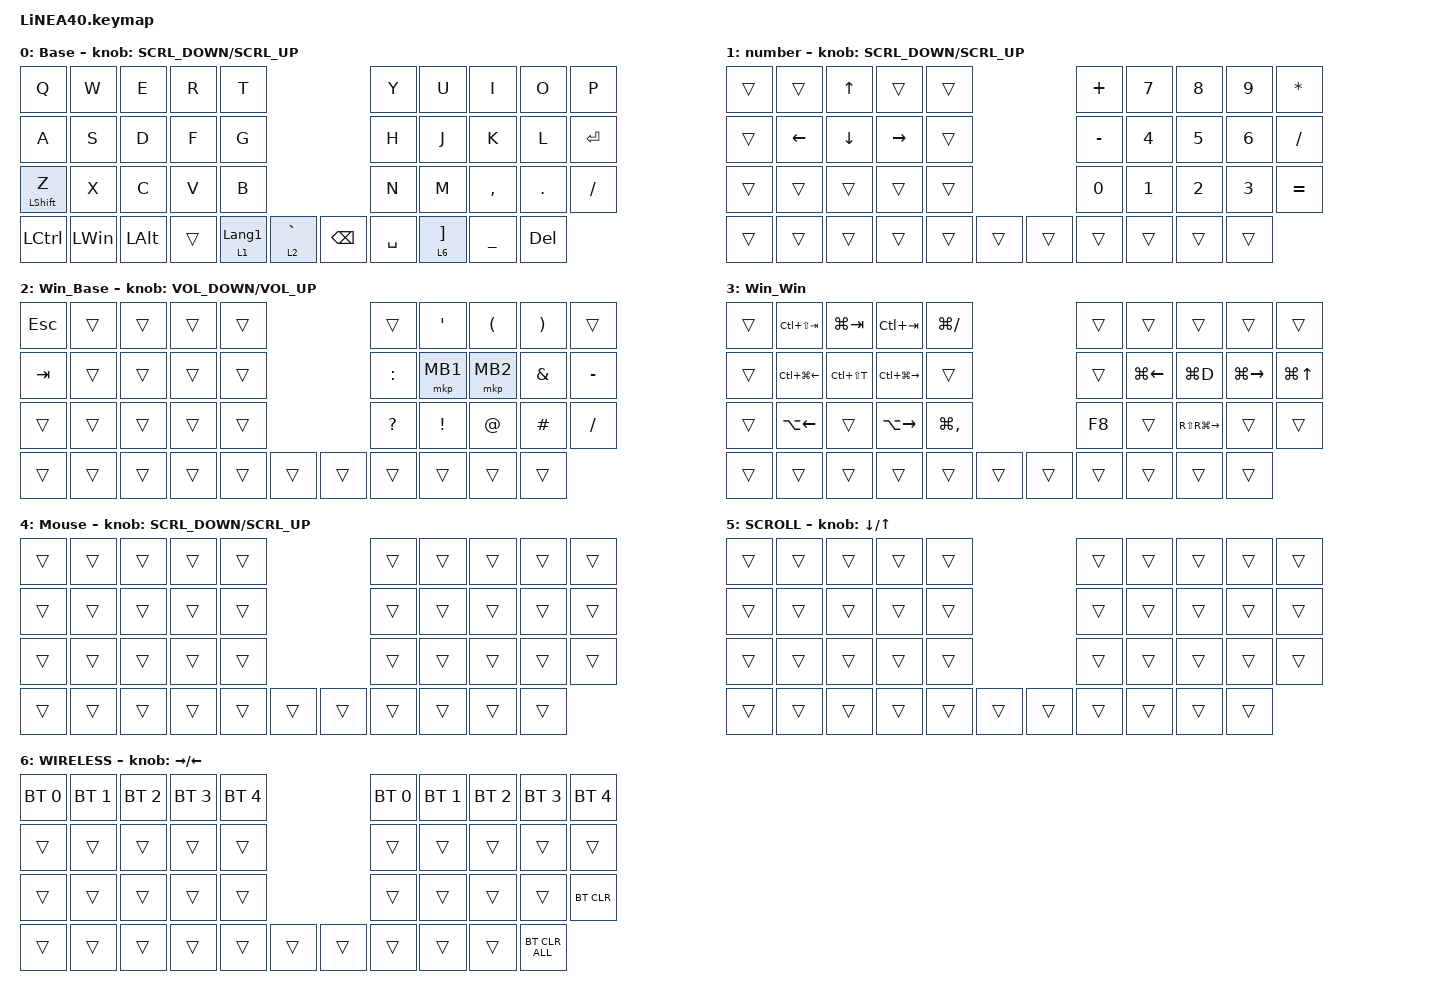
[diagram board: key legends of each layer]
#define ZMK_POINTING_DEFAULT_SCRL_VAL 150

#include <dt-bindings/zmk/input_transform.h>
#include <input/processors.dtsi>
#include <zephyr/dt-bindings/input/input-event-codes.h>
#include <behaviors.dtsi>
#include <dt-bindings/zmk/bt.h>
#include <dt-bindings/zmk/keys.h>
#include <dt-bindings/zmk/pointing.h>

#define MOUSE 1
#define MARK 2
#define CURSOR 3
#define FUNCTION 4
#define SCROLL 5
#define WIRELESS 6

//mouse cursol

&mmv {
    delay-ms = <20>;
    trigger-period-ms = <5>;
    time-to-max-speed-ms = <100>;
    acceleration-exponent = <2>;
};

//mouse scroll

&msc {
    delay-ms = <3>;
    trigger-period-ms = <3>;
    time-to-max-speed-ms = <100>;
    acceleration-exponent = <0>;
};

/ {
    input_processors {
        zip_wheel_scaler: zip_wheel_scaler {
            compatible = "zmk,input-processor-scaler";
            #input-processor-cells = <2>;
            type = <INPUT_EV_REL>;
            codes = <INPUT_REL_WHEEL>;
            track-remainders;
        };
    };
};

&msc_input_listener {
    speed_up {
        layers = <FUNCTION>;
        input-processors = <&zip_wheel_scaler 3 1>; //スクロールを3倍速にする
    };
};

&trackball_listener {
    scroller {
        layers = <SCROLL>;
        input-processors =
            <&zip_xy_transform INPUT_TRANSFORM_Y_INVERT>,
            //スクロール方向を逆転,,,,,,,,,,,,,,,,,,,,
            <&zip_xy_to_scroll_mapper>;
    };
};

/ {
    combos {
        compatible = "zmk,combos";

        ZenkakuHankaku {
            bindings = <&kp GRAVE>;
            key-positions = <11 12>;
        };

        DeleteKey {
            bindings = <&kp DEL>;
            key-positions = <7 8>;
        };

        InsertKey {
            bindings = <&kp INS>;
            key-positions = <6 7>;
        };

        CenterClick {
            bindings = <&mkp MB3>;
            key-positions = <17 16>;
        };

        RightClick {
            bindings = <&mkp MB2>;
            key-positions = <18 17>;
        };

        PrevClick {
            bindings = <&mkp MB4>;
            key-positions = <27 28>;
        };

        ClickNext {
            bindings = <&mkp MB5>;
            key-positions = <26 27>;
        };
    };

    behaviors {
        re_kp: sensor_rotate_kp {
            compatible = "zmk,behavior-sensor-rotate-var";
            #sensor-binding-cells = <2>;
            bindings = <&kp>, <&kp>;
        };

        mouse_scrl: mouse_wheel_scrl {
            compatible = "zmk,behavior-sensor-rotate-var";
            #sensor-binding-cells = <2>;
            bindings = <&msc>, <&msc>;

            tap-ms = <20>;
        };
    };

    keymap {
        compatible = "zmk,keymap";

        Base {
            bindings = <
&kp Q             &kp W         &kp E         &kp R   &kp T                                           &kp Y      &kp U  &kp I                &kp O      &kp P
&kp A             &kp S         &kp D         &kp F   &kp G                                           &kp H      &kp J  &kp K                &kp L      &kp ENTER
&mt LEFT_SHIFT Z  &kp X         &kp C         &kp V   &kp B                                           &kp N      &kp M  &kp COMMA            &kp DOT    &kp SLASH
&kp LCTRL         &kp LEFT_WIN  &kp LEFT_ALT  &trans  &lt 1 LANGUAGE_1  &lt 2 GRAVE    &kp BACKSPACE  &kp SPACE         &lt 6 RIGHT_BRACKET  &kp UNDER  &kp DELETE
            >;

            sensor-bindings = <&mouse_scrl SCRL_DOWN SCRL_UP>;
        };

        //1

        number {
            bindings = <
&trans  &trans    &kp UP_ARROW    &trans     &trans                    &kp PLUS   &kp N7        &kp N8        &kp N9        &kp ASTERISK
&trans  &kp LEFT  &kp DOWN_ARROW  &kp RIGHT  &trans                    &kp MINUS  &kp NUMBER_4  &kp N5        &kp NUMBER_6  &kp SLASH
&trans  &trans    &trans          &trans     &trans                    &kp N0     &kp NUMBER_1  &kp NUMBER_2  &kp NUMBER_3  &kp EQUAL
&trans  &trans    &trans          &trans     &trans  &trans    &trans  &trans                   &trans        &trans        &trans
            >;

            sensor-bindings = <&mouse_scrl SCRL_DOWN SCRL_UP>;
        };

        //2

        Win_Base {
            bindings = <
&kp ESCAPE  &trans  &trans  &trans  &trans                    &trans        &kp SQT          &kp LEFT_PARENTHESIS  &kp RIGHT_PARENTHESIS  &trans
&kp TAB     &trans  &trans  &trans  &trans                    &kp COLON     &mkp MB1         &mkp MB2              &kp AMPERSAND          &kp MINUS
&trans      &trans  &trans  &trans  &trans                    &kp QUESTION  &kp EXCLAMATION  &kp AT_SIGN           &kp HASH               &kp SLASH
&trans      &trans  &trans  &trans  &trans  &trans    &trans  &trans                         &trans                &trans                 &trans
            >;

            sensor-bindings = <&re_kp C_VOLUME_DOWN C_VOLUME_UP>;
        };

        //3

        Win_Win {
            bindings = <
&trans  &kp LC(LS(TAB))   &kp LG(TAB)    &kp LC(TAB)              &kp LG(SLASH)                    &trans  &trans        &trans             &trans         &trans
&trans  &kp LC(LG(LEFT))  &kp LC(LS(T))  &kp LC(LG(RIGHT_ARROW))  &trans                           &trans  &kp LG(LEFT)  &kp LG(D)          &kp LG(RIGHT)  &kp LG(UP_ARROW)
&trans  &kp LA(LEFT)      &trans         &kp LA(RIGHT)            &kp LG(COMMA)                    &kp F8  &trans        &kp RS(RG(RIGHT))  &trans         &trans
&trans  &trans            &trans         &trans                   &trans         &trans    &trans  &trans                &trans             &trans         &trans
            >;
        };

        //4

        Mouse {
            bindings = <
&trans  &trans  &trans  &trans  &trans                    &trans  &trans  &trans  &trans  &trans
&trans  &trans  &trans  &trans  &trans                    &trans  &trans  &trans  &trans  &trans
&trans  &trans  &trans  &trans  &trans                    &trans  &trans  &trans  &trans  &trans
&trans  &trans  &trans  &trans  &trans  &trans    &trans  &trans          &trans  &trans  &trans
            >;

            sensor-bindings = <&mouse_scrl SCRL_DOWN SCRL_UP>;
        };

        //5

        SCROLL {
            bindings = <
&trans  &trans  &trans  &trans  &trans                    &trans  &trans  &trans  &trans  &trans
&trans  &trans  &trans  &trans  &trans                    &trans  &trans  &trans  &trans  &trans
&trans  &trans  &trans  &trans  &trans                    &trans  &trans  &trans  &trans  &trans
&trans  &trans  &trans  &trans  &trans  &trans    &trans  &trans          &trans  &trans  &trans
            >;

            sensor-bindings = <&inc_dec_kp DOWN_ARROW UP_ARROW>;
        };

        //6

        WIRELESS {
            bindings = <
&bt BT_SEL 0  &bt BT_SEL 1  &bt BT_SEL 2  &bt BT_SEL 3  &bt BT_SEL 4                    &bt BT_SEL 0  &bt BT_SEL 1  &bt BT_SEL 2  &bt BT_SEL 3  &bt BT_SEL 4
&trans        &trans        &trans        &trans        &trans                          &trans        &trans        &trans        &trans        &trans
&trans        &trans        &trans        &trans        &trans                          &trans        &trans        &trans        &trans        &bt BT_CLR
&trans        &trans        &trans        &trans        &trans        &trans    &trans  &trans                      &trans        &trans        &bt BT_CLR_ALL
            >;

            sensor-bindings = <&inc_dec_kp RIGHT_ARROW LEFT_ARROW>;
        };
    };
};
